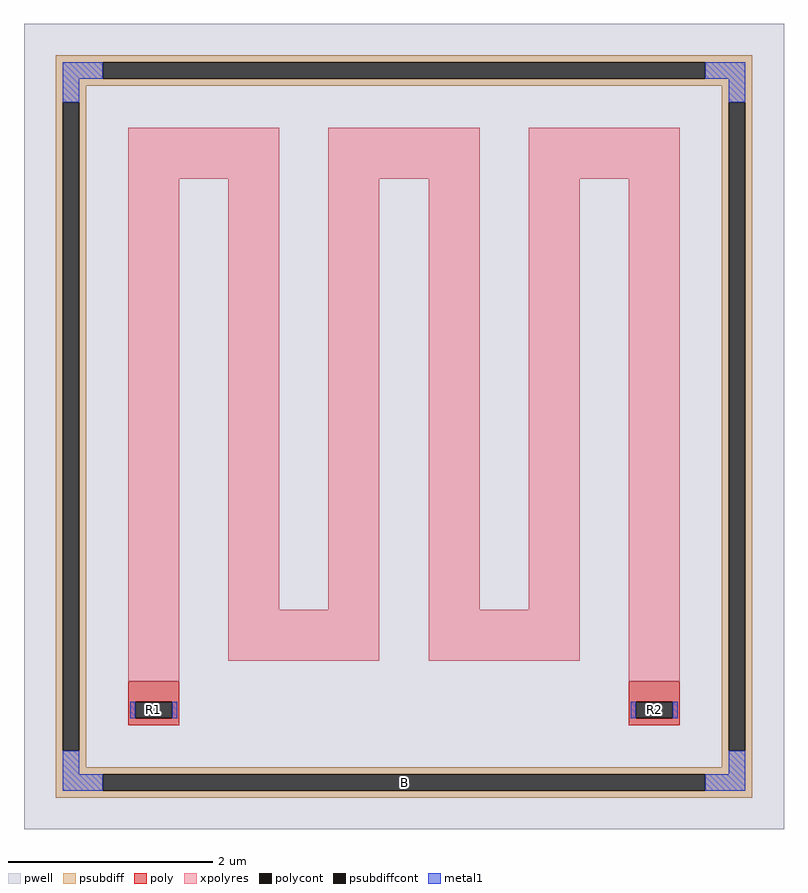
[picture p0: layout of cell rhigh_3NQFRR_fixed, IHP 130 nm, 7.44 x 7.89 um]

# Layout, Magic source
magic
tech ihp-sg13cmos5l
magscale 1 2
<< pwell >>
rect 6987 4153 8475 5731
<< psubdiff >>
rect 7049 5655 8413 5669
rect 7049 5623 7141 5655
rect 8321 5623 8413 5655
rect 7049 5609 8413 5623
rect 7049 5577 7109 5609
rect 7049 4307 7063 5577
rect 7095 4307 7109 5577
rect 8353 5577 8413 5609
rect 7049 4275 7109 4307
rect 8353 4307 8367 5577
rect 8399 4307 8413 5577
rect 8353 4275 8413 4307
rect 7049 4261 8413 4275
rect 7049 4229 7141 4261
rect 8321 4229 8413 4261
rect 7049 4215 8413 4229
<< psubdiffcont >>
rect 7141 5623 8321 5655
rect 7063 4307 7095 5577
rect 8367 4307 8399 5577
rect 7141 4229 8321 4261
<< poly >>
rect 7191 4403 7291 4443
rect 7191 4371 7205 4403
rect 7277 4371 7291 4403
rect 7191 4357 7291 4371
rect 8171 4403 8271 4443
rect 8171 4371 8185 4403
rect 8257 4371 8271 4403
rect 8171 4357 8271 4371
<< polycont >>
rect 7205 4371 7277 4403
rect 8185 4371 8257 4403
<< xpolyres >>
rect 7191 5427 7487 5527
rect 7191 4443 7291 5427
rect 7387 4583 7487 5427
rect 7583 5427 7879 5527
rect 7583 4583 7683 5427
rect 7387 4483 7683 4583
rect 7779 4583 7879 5427
rect 7975 5427 8271 5527
rect 7975 4583 8075 5427
rect 7779 4483 8075 4583
rect 8171 4443 8271 5427
<< metal1 >>
rect 7063 5623 7141 5655
rect 8321 5623 8399 5655
rect 7063 5577 7095 5623
rect 8367 5577 8399 5623
rect 7195 4371 7205 4403
rect 7277 4371 7287 4403
rect 8175 4371 8185 4403
rect 8257 4371 8267 4403
rect 7063 4261 7095 4307
rect 8367 4261 8399 4307
rect 7063 4229 7141 4261
rect 8321 4229 8399 4261
<< labels >>
rlabel psubdiffcont 7731 4245 7731 4245 0 B
port 1 nsew
rlabel polycont 7241 4387 7241 4387 0 R1
port 2 nsew
rlabel polycont 8221 4387 8221 4387 0 R2
port 3 nsew
<< properties >>
string FIXED_BBOX 7079 4245 8383 5639
string gencell rhigh
string library sg13cmos5l
string MASKHINTS_CONTBAR 7191 4357 8271 5527
string parameters w 0.5 l 5.22 m 1 nx 6 wmin 0.50 lmin 0.50 class resistor rho 1360 val 91.99k dummy 0 dw 0.0 term 0.0 sterm 0.0 caplen 0 bar 1 guard 1 glc 1 grc 1 gtc 1 gbc 1 snake 1 full_metal 1 n_guard 0 hv_guard 0 vias 0 viagb 0 viagt 0 viagl 0 viagr 0 doports 1
<< end >>
